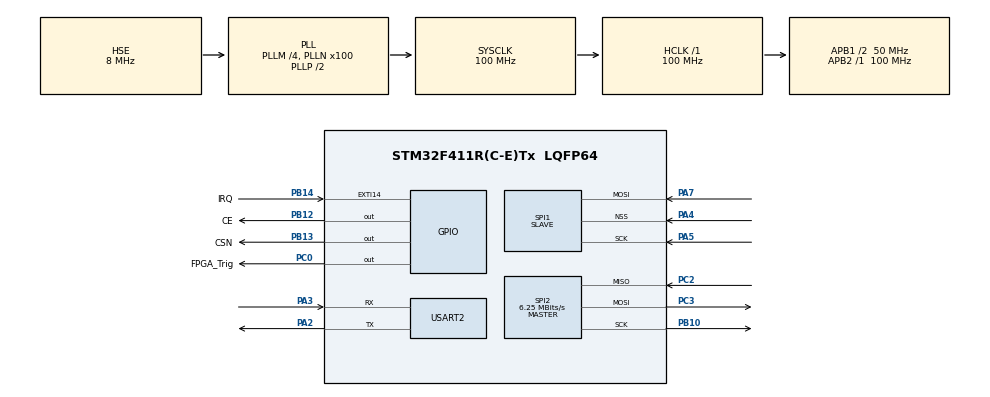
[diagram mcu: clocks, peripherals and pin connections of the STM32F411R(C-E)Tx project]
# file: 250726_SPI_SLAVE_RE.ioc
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Mcu.Family=STM32F4
Mcu.Name=STM32F411R(C-E)Tx
Mcu.Package=LQFP64
NVIC.EXTI15_10_IRQn=true\:0\:0\:false\:false\:true\:true\:true\:true
NVIC.PriorityGroup=NVIC_PRIORITYGROUP_4
PA13.Mode=Serial_Wire
PA13.Signal=SYS_JTMS-SWDIO
PA14.Mode=Serial_Wire
PA14.Signal=SYS_JTCK-SWCLK
PA2.Mode=Asynchronous
PA2.Signal=USART2_TX
PA3.Mode=Asynchronous
PA3.Signal=USART2_RX
PA4.GPIO_PuPd=GPIO_NOPULL
PA4.Mode=NSS_Signal_Hard_Input
PA4.Signal=SPI1_NSS
PA5.Mode=RX_Only_Simplex_Unidirect_Slave
PA5.Signal=SPI1_SCK
PA7.Mode=RX_Only_Simplex_Unidirect_Slave
PA7.Signal=SPI1_MOSI
PB10.Mode=Full_Duplex_Master
PB10.Signal=SPI2_SCK
PB12.GPIO_Label=CE
PB12.Signal=GPIO_Output
PB13.GPIO_Label=CSN
PB13.PinState=GPIO_PIN_SET
PB13.Signal=GPIO_Output
PB14.GPIO_Label=IRQ
PB14.GPIO_ModeDefaultEXTI=GPIO_MODE_IT_FALLING
PB14.Signal=GPXTI14
PC0.GPIO_Label=FPGA_Trig
PC0.Signal=GPIO_Output
PC2.Mode=Full_Duplex_Master
PC2.Signal=SPI2_MISO
PC3.Mode=Full_Duplex_Master
PC3.Signal=SPI2_MOSI
PH0\ -\ OSC_IN.Mode=HSE-External-Oscillator
PH0\ -\ OSC_IN.Signal=RCC_OSC_IN
PH1\ -\ OSC_OUT.Mode=HSE-External-Oscillator
PH1\ -\ OSC_OUT.Signal=RCC_OSC_OUT
ProjectManager.HeapSize=0x200
ProjectManager.StackSize=0x400
ProjectManager.TargetToolchain=STM32CubeIDE
RCC.48MHZClocksFreq_Value=50000000
RCC.AHBFreq_Value=100000000
RCC.APB1CLKDivider=RCC_HCLK_DIV2
RCC.APB1Freq_Value=50000000
RCC.APB1TimFreq_Value=100000000
RCC.APB2Freq_Value=100000000
RCC.APB2TimFreq_Value=100000000
RCC.CortexFreq_Value=100000000
RCC.HCLKFreq_Value=100000000
RCC.HSE_VALUE=8000000
RCC.HSI_VALUE=16000000
RCC.LSE_VALUE=32768
RCC.PLLM=4
RCC.PLLN=100
RCC.PLLSourceVirtual=RCC_PLLSOURCE_HSE
RCC.SYSCLKFreq_VALUE=100000000
RCC.SYSCLKSource=RCC_SYSCLKSOURCE_PLLCLK
RCC.VCOOutputFreq_Value=200000000
SPI1.Direction=SPI_DIRECTION_2LINES_RXONLY
SPI1.Mode=SPI_MODE_SLAVE
SPI1.VirtualNSS=VM_NSSHARD
SPI1.VirtualType=VM_SLAVE
SPI2.BaudRatePrescaler=SPI_BAUDRATEPRESCALER_8
SPI2.CalculateBaudRate=6.25 MBits/s
SPI2.Direction=SPI_DIRECTION_2LINES
SPI2.Mode=SPI_MODE_MASTER
SPI2.VirtualType=VM_MASTER
USART2.VirtualMode=VM_ASYNC
board=custom

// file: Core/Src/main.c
/* USER CODE BEGIN Header */
/**
 ******************************************************************************
 * @file           : main.c
 * @brief          : Main program body
 ******************************************************************************
 * @attention
 *
 * Copyright (c) 2025 STMicroelectronics.
 * All rights reserved.
 *
 * This software is licensed under terms that can be found in the LICENSE file
 * in the root directory of this software component.
 * If no LICENSE file comes with this software, it is provided AS-IS.
 *
 ******************************************************************************
 */
/* USER CODE END Header */
#include "main.h"
#include "spi.h"
#include "usart.h"
#include "gpio.h"

/* USER CODE BEGIN Includes */
#include "string.h"
#include <stdio.h>

#include "vector.h"
#include "NRF24L01.h"
#include "Listener.h"
#include "Controller.h"
#include "Presenter.h"
/* USER CODE END Includes */

/* USER CODE BEGIN PD */
#define Buffer_Size 50
/* USER CODE END PD */

/* USER CODE BEGIN PV */
uint8_t rf_rx_data[NRF24L01P_PAYLOAD_LENGTH] = {};
uint8_t rf_flag = 0;
/* USER CODE END PV */

void SystemClock_Config(void);
/* USER CODE BEGIN PFP */
void HAL_GPIO_EXTI_Callback(uint16_t GPIO_Pin);
/* USER CODE END PFP */

/* USER CODE BEGIN 0 */
int __io_putchar(int ch)
{
	HAL_UART_Transmit(&huart2, (uint8_t *)&ch, 1, 1000);

	return ch;
}
/* USER CODE END 0 */

int main(void)
{

	/* MCU Configuration--------------------------------------------------------*/

	/* Reset of all peripherals, Initializes the Flash interface and the Systick. */
	HAL_Init();

	/* USER CODE BEGIN Init */
	//  Listener_Init();
	/* USER CODE END Init */

	/* Configure the system clock */
	SystemClock_Config();

	/* Initialize all configured peripherals */
	MX_GPIO_Init();
	MX_SPI1_Init();
	MX_USART2_UART_Init();
	MX_SPI2_Init();
	/* USER CODE BEGIN 2 */
	//  HAL_UART_Transmit(&huart2, "run\n", strlen("run\n"), 100);
	nrf24l01p_reset();
	nrf24l01p_rx_init(2500, _1Mbps);
	/* USER CODE END 2 */

	/* Infinite loop */
	/* USER CODE BEGIN WHILE */
	while (1)
	{
		if(rf_flag == 1){
			rf_flag = 0;
			if(rf_rx_data[0] != 0x01) continue;
			HAL_GPIO_WritePin(GPIOC, GPIO_PIN_0, SET); // GPIO ON
			rf_rx_data[0] = 0x00;
		}

		if(!Listener_Execute()) {
			continue;
		}
		HAL_GPIO_WritePin(GPIOC, GPIO_PIN_0, RESET); // GPIO ON
		controller_excute();
		Presenter_Execute();
		/* USER CODE END WHILE */

	}
}

void SystemClock_Config(void)
{
	RCC_OscInitTypeDef RCC_OscInitStruct = {0};
	RCC_ClkInitTypeDef RCC_ClkInitStruct = {0};

	/** Configure the main internal regulator output voltage
	 */
	__HAL_RCC_PWR_CLK_ENABLE();
	__HAL_PWR_VOLTAGESCALING_CONFIG(PWR_REGULATOR_VOLTAGE_SCALE1);

	/** Initializes the RCC Oscillators according to the specified parameters
	 * in the RCC_OscInitTypeDef structure.
	 */
	RCC_OscInitStruct.OscillatorType = RCC_OSCILLATORTYPE_HSE;
	RCC_OscInitStruct.HSEState = RCC_HSE_ON;
	RCC_OscInitStruct.PLL.PLLState = RCC_PLL_ON;
	RCC_OscInitStruct.PLL.PLLSource = RCC_PLLSOURCE_HSE;
	RCC_OscInitStruct.PLL.PLLM = 4;
	RCC_OscInitStruct.PLL.PLLN = 100;
	RCC_OscInitStruct.PLL.PLLP = RCC_PLLP_DIV2;
	RCC_OscInitStruct.PLL.PLLQ = 4;
	if (HAL_RCC_OscConfig(&RCC_OscInitStruct) != HAL_OK)
	{
		Error_Handler();
	}

	/** Initializes the CPU, AHB and APB buses clocks
	 */
	RCC_ClkInitStruct.ClockType = RCC_CLOCKTYPE_HCLK|RCC_CLOCKTYPE_SYSCLK
			|RCC_CLOCKTYPE_PCLK1|RCC_CLOCKTYPE_PCLK2;
	RCC_ClkInitStruct.SYSCLKSource = RCC_SYSCLKSOURCE_PLLCLK;
	RCC_ClkInitStruct.AHBCLKDivider = RCC_SYSCLK_DIV1;
	RCC_ClkInitStruct.APB1CLKDivider = RCC_HCLK_DIV2;
	RCC_ClkInitStruct.APB2CLKDivider = RCC_HCLK_DIV1;

	if (HAL_RCC_ClockConfig(&RCC_ClkInitStruct, FLASH_LATENCY_3) != HAL_OK)
	{
		Error_Handler();
	}
}

/* USER CODE BEGIN 4 */
void HAL_GPIO_EXTI_Callback(uint16_t GPIO_Pin)
{
	if(GPIO_Pin == NRF24L01P_IRQ_PIN_NUMBER)
	{
		nrf24l01p_rx_receive(rf_rx_data);
		if(rf_rx_data[0] == 0x01){
			rf_flag = 1;
		}
	}
}
/* USER CODE END 4 */

void Error_Handler(void)
{
	__disable_irq();
	while (1)
	{
	}
}
